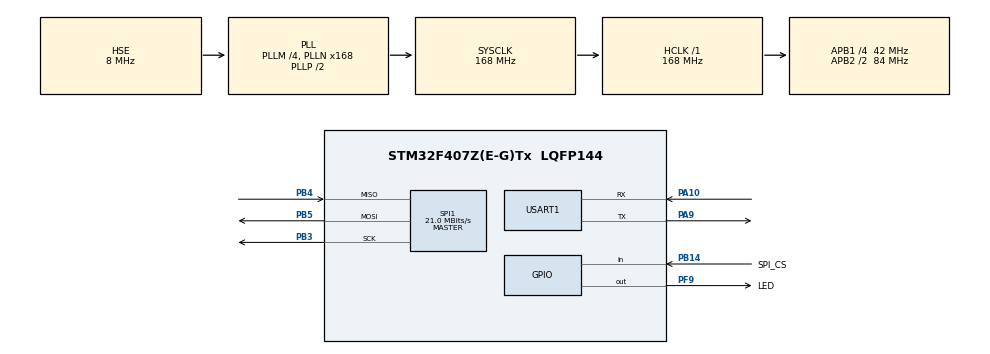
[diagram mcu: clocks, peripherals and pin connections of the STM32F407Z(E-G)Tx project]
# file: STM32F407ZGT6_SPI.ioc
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Mcu.Family=STM32F4
Mcu.Name=STM32F407Z(E-G)Tx
Mcu.Package=LQFP144
NVIC.PriorityGroup=NVIC_PRIORITYGROUP_4
PA10.Mode=Asynchronous
PA10.Signal=USART1_RX
PA9.Mode=Asynchronous
PA9.Signal=USART1_TX
PB14.GPIO_Label=SPI_CS
PB14.Signal=GPIO_Input
PB3.Mode=Full_Duplex_Master
PB3.Signal=SPI1_SCK
PB4.Mode=Full_Duplex_Master
PB4.Signal=SPI1_MISO
PB5.Mode=Full_Duplex_Master
PB5.Signal=SPI1_MOSI
PF9.GPIO_Label=LED
PF9.Signal=GPIO_Output
PH0-OSC_IN.Mode=HSE-External-Oscillator
PH0-OSC_IN.Signal=RCC_OSC_IN
PH1-OSC_OUT.Mode=HSE-External-Oscillator
PH1-OSC_OUT.Signal=RCC_OSC_OUT
ProjectManager.HeapSize=0x200
ProjectManager.StackSize=0x400
ProjectManager.TargetToolchain=STM32CubeIDE
RCC.48MHZClocksFreq_Value=84000000
RCC.AHBFreq_Value=168000000
RCC.APB1CLKDivider=RCC_HCLK_DIV4
RCC.APB1Freq_Value=42000000
RCC.APB1TimFreq_Value=84000000
RCC.APB2CLKDivider=RCC_HCLK_DIV2
RCC.APB2Freq_Value=84000000
RCC.APB2TimFreq_Value=168000000
RCC.CortexFreq_Value=168000000
RCC.HCLKFreq_Value=168000000
RCC.HSE_VALUE=8000000
RCC.HSI_VALUE=16000000
RCC.LSE_VALUE=32768
RCC.PLLM=4
RCC.PLLN=168
RCC.PLLSourceVirtual=RCC_PLLSOURCE_HSE
RCC.SYSCLKFreq_VALUE=168000000
RCC.SYSCLKSource=RCC_SYSCLKSOURCE_PLLCLK
RCC.VCOOutputFreq_Value=336000000
SPI1.BaudRatePrescaler=SPI_BAUDRATEPRESCALER_4
SPI1.CLKPhase=SPI_PHASE_2EDGE
SPI1.CLKPolarity=SPI_POLARITY_HIGH
SPI1.CalculateBaudRate=21.0 MBits/s
SPI1.Direction=SPI_DIRECTION_2LINES
SPI1.Mode=SPI_MODE_MASTER
SPI1.VirtualType=VM_MASTER
USART1.VirtualMode=VM_ASYNC
board=custom

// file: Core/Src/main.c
/* USER CODE BEGIN Header */
/**
  ******************************************************************************
  * @file           : main.c
  * @brief          : Main program body
  ******************************************************************************
  * @attention
  *
  * Copyright (c) 2023 STMicroelectronics.
  * All rights reserved.
  *
  * This software is licensed under terms that can be found in the LICENSE file
  * in the root directory of this software component.
  * If no LICENSE file comes with this software, it is provided AS-IS.
  *
  ******************************************************************************
  */
/* USER CODE END Header */
#include "main.h"
#include "spi.h"
#include "usart.h"
#include "gpio.h"

/* USER CODE BEGIN Includes */
#include <stdio.h>
#include "norflash.h"
#include "string.h"
//#include "W25QXX.h"

/* USER CODE END Includes */

/* USER CODE BEGIN PV */
const uint8_t g_text_buf[] = {"STM32 SPI TEST"};
#define TEXT_SIZE   sizeof(g_text_buf)      /*TEXT字符串长度*/

uint8_t key;
uint16_t i = 0;
uint8_t datatemp[TEXT_SIZE];
uint32_t flashsize;
uint16_t id = 0;

/* USER CODE END PV */

void SystemClock_Config(void);

int main(void)
{

  /* MCU Configuration--------------------------------------------------------*/

  /* Reset of all peripherals, Initializes the Flash interface and the Systick. */
  HAL_Init();

  /* Configure the system clock */
  SystemClock_Config();

  /* Initialize all configured peripherals */
  MX_GPIO_Init();
  MX_USART1_UART_Init();
  MX_SPI1_Init();
  /* USER CODE BEGIN 2 */
  norflash_init();                        /* 初始化NORFLASH */
  id = norflash_read_id();                /* 读取FLASH ID */
  while ((id == 0) || (id == 0XFFFF))     /* 检测不到FLASH芯片 */
  {
      HAL_Delay(500);
      HAL_GPIO_TogglePin(LED_GPIO_Port, LED_Pin);              /* LED0闪烁 */
  }
  flashsize = 16 * 1024 * 1024;   /* FLASH 大小为16M字节 */

  /* USER CODE END 2 */

  /* Infinite loop */
  /* USER CODE BEGIN WHILE */
while (1)
{
	printf("Start Write FLASH....\r\n");
	sprintf((char *)datatemp, "%s", (char *)g_text_buf);
	norflash_write((uint8_t *)datatemp, flashsize - 100, TEXT_SIZE);      /* 从倒数第100个地址处开始,写入SIZE长度的数据 */
	printf("FLASH Write Finished!\r\n");
	HAL_Delay(500);

	printf("Start Read FLASH... .\r\n");
	norflash_read(datatemp, flashsize - 100, TEXT_SIZE);
	printf("The Data Readed Is: ");
	for(i=0;i<TEXT_SIZE;i++)
		printf("%c",datatemp[i]);
	printf("\r\n");
	i++;
    if (i == 20)
    {
    	HAL_GPIO_TogglePin(LED_GPIO_Port, LED_Pin);       /* LED0闪烁 */
        i = 0;
    }
	HAL_Delay(1000);
  /* USER CODE END WHILE */

}
}

void SystemClock_Config(void)
{
  RCC_OscInitTypeDef RCC_OscInitStruct = {0};
  RCC_ClkInitTypeDef RCC_ClkInitStruct = {0};

  /** Configure the main internal regulator output voltage
  */
  __HAL_RCC_PWR_CLK_ENABLE();
  __HAL_PWR_VOLTAGESCALING_CONFIG(PWR_REGULATOR_VOLTAGE_SCALE1);

  /** Initializes the RCC Oscillators according to the specified parameters
  * in the RCC_OscInitTypeDef structure.
  */
  RCC_OscInitStruct.OscillatorType = RCC_OSCILLATORTYPE_HSE;
  RCC_OscInitStruct.HSEState = RCC_HSE_ON;
  RCC_OscInitStruct.PLL.PLLState = RCC_PLL_ON;
  RCC_OscInitStruct.PLL.PLLSource = RCC_PLLSOURCE_HSE;
  RCC_OscInitStruct.PLL.PLLM = 4;
  RCC_OscInitStruct.PLL.PLLN = 168;
  RCC_OscInitStruct.PLL.PLLP = RCC_PLLP_DIV2;
  RCC_OscInitStruct.PLL.PLLQ = 4;
  if (HAL_RCC_OscConfig(&RCC_OscInitStruct) != HAL_OK)
  {
    Error_Handler();
  }

  /** Initializes the CPU, AHB and APB buses clocks
  */
  RCC_ClkInitStruct.ClockType = RCC_CLOCKTYPE_HCLK|RCC_CLOCKTYPE_SYSCLK
                              |RCC_CLOCKTYPE_PCLK1|RCC_CLOCKTYPE_PCLK2;
  RCC_ClkInitStruct.SYSCLKSource = RCC_SYSCLKSOURCE_PLLCLK;
  RCC_ClkInitStruct.AHBCLKDivider = RCC_SYSCLK_DIV1;
  RCC_ClkInitStruct.APB1CLKDivider = RCC_HCLK_DIV4;
  RCC_ClkInitStruct.APB2CLKDivider = RCC_HCLK_DIV2;

  if (HAL_RCC_ClockConfig(&RCC_ClkInitStruct, FLASH_LATENCY_5) != HAL_OK)
  {
    Error_Handler();
  }
}

void Error_Handler(void)
{
  /* USER CODE BEGIN Error_Handler_Debug */
  /* User can add his own implementation to report the HAL error return state */
  printf("something wrong ....\r\n");
  __disable_irq();

  while (1)
  {
  }
  /* USER CODE END Error_Handler_Debug */
}
